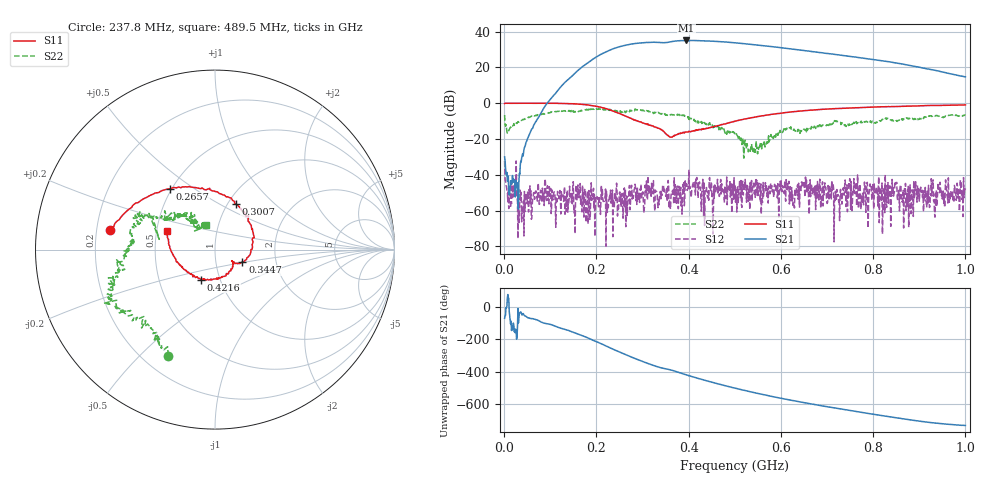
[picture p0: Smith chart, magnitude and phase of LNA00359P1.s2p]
! Created with skrf 1.9.0 (http://scikit-rf.org).
# Hz S RI R 50.0
!freq ReS11 ImS11 ReS21 ImS21 ReS12 ImS12 ReS22 ImS22
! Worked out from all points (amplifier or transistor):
!   1001 points, 1 MHz to 1 GHz, reference 50 ohm
!   highest |S21| = 35.1 dB at 394.6 MHz (marker M1)
!   |S21| within 3 dB of that: 257.4 MHz to 565.6 MHz (308.2 MHz wide, 74.9 % of centre)
!   unconditionally stable (mu >= 1): 26.57 MHz to 67.59 MHz; 219.8 MHz to 308.6 MHz; 312.1 MHz to end of sweep (the widest 3 of 32)
!   at 166.8 MHz: K = 1.43, MAG = 32.6 dB, |S12| = -53.3 dB
!   at 500.5 MHz: K = 1.80, MAG = 34.5 dB, |S12| = -45.6 dB
!   at 1 GHz: K = 3.27, MAG = 23.4 dB, |S12| = -48.1 dB
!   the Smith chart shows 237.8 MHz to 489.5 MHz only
!   S11 on the Smith chart (normalised r, x): 237.8 MHz: 0.26, +0.09; 265.7 MHz: 0.49, +0.40; 300.7 MHz: 1.09, +0.60; 344.7 MHz: 1.35, -0.19; 421.6 MHz: 0.81, -0.28; 489.5 MHz: 0.56, +0.13
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1000000  0.9731 0.009  0.00989 -0.03  0.00256 0.0242  0.373 0.2797
1.08892e8  0.5088 -0.8557  -0.8142 -1.54  0.00313 0.00115  0.4384 -0.3639
1.67833e8  -0.2583 -0.8917  -10 -0.5761  -0.00203 -0.00063  0.0611 -0.6244
2.07793e8  -0.6771 -0.3879  -15.86 15.89  -0.000974 0.00135  -0.1687 -0.6598
2.37763e8  -0.5847 0.1074  -3.516 33.56  0.00127 -2.34e-05  -0.2607 -0.5907
2.65735e8  -0.2506 0.3387  20.3 36.87  0.00141 -0.00213  -0.4615 -0.397
3.007e8  0.1145 0.2542  45.53 17.58  -0.00322 -0.000865  -0.5758 -0.2281
3.18682e8  0.2059 0.1127  50.39 2.587  0.000295 0.00249  -0.5412 -0.1539
3.34666e8  0.1994 -0.0133  48.74 -10.77  -0.00181 -0.00124  -0.5436 -0.0699
3.44656e8  0.1526 -0.0679  45.85 -16.95  -0.00484 0.00209  -0.4834 -0.00969
3.7063e8  0.1014 -0.0755  42.85 -33.64  -0.00257 0.00465  -0.4364 0.133
3.94606e8  0.0495 -0.1494  27.89 -49.27  0.00174 0.00433  -0.3976 0.1845
4.21579e8  -0.0764 -0.1676  6.439 -55.35  -0.000962 0.00626  -0.2118 0.1851
4.5055e8  -0.1982 -0.0854  -15.16 -52.28  -3.36e-05 0.00227  -0.1675 0.1857
4.89511e8  -0.2698 0.1042  -35.58 -35.16  0.0027 0.00583  -0.0525 0.1388
5.005e8  -0.267 0.1673  -38.95 -29.5  0.00317 0.00419  -0.0766 0.1163
5.4046e8  -0.1728 0.3633  -42.55 -8.048  0.00521 -0.00138  -0.052 0.0216
5.88412e8  0.0401 0.5024  -35.05 12.01  0.00362 -0.000839  -0.0873 -0.0705
6.67333e8  0.4153 0.4893  -13.25 24.15  -0.00209 -0.00283  -0.2064 -0.0621
7.53247e8  0.6864 0.2708  4.235 19.58  0.00105 -0.000152  -0.2527 -0.0122
8.34166e8  0.8014 0.00519  10.82 9.501  -0.00217 0.00178  -0.3723 -0.0204
1e9  0.7146 -0.5409  5.318 -1.251  0.000129 0.00391  -0.3459 0.3036
